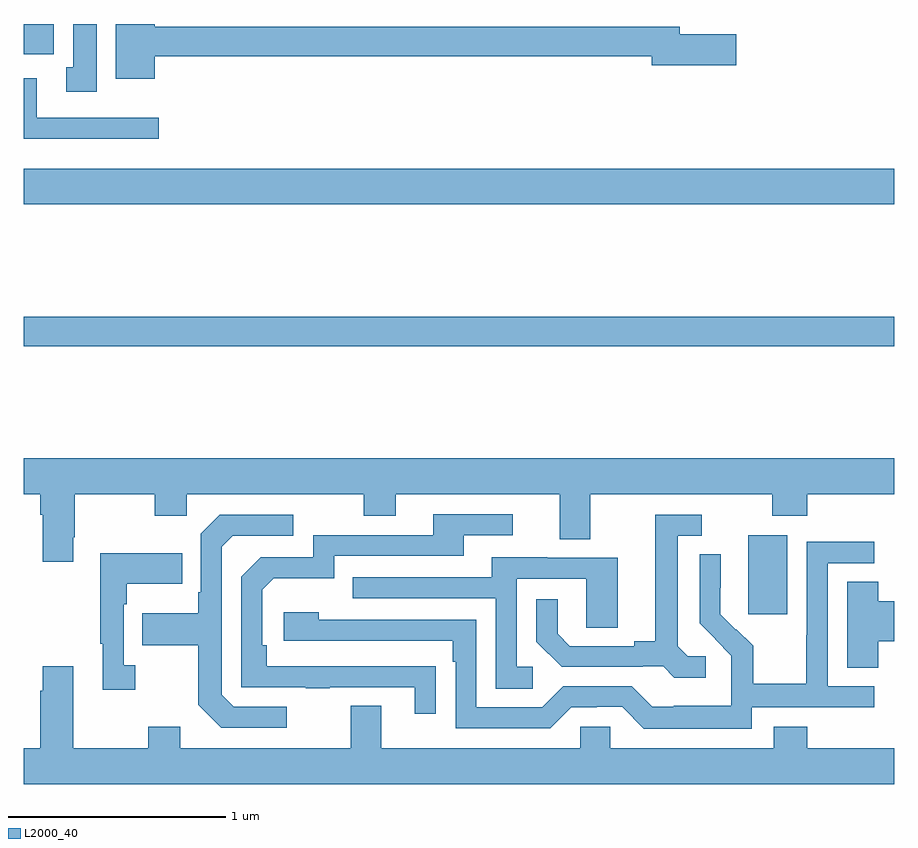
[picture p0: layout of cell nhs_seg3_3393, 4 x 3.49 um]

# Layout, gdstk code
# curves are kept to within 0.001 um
import gdstk
lib = gdstk.Library(unit=1e-6, precision=1e-09)
def R(c, l, rs):  # rectangles x0, y0, x1, y1
    for r in rs: c.add(gdstk.rectangle(r[:2], r[2:], *l))
def P(c, l, *ps):  # polygons
    for p in ps: c.add(gdstk.Polygon(p, *l))
L2000_40 = (2000, 40)

nhs_seg3_3393 = lib.new_cell('nhs_seg3_3393')
R(nhs_seg3_3393, L2000_40, [(290.33,709.689,290.509,710.05), (287,710.92,291,711.056), (287,711.572,291,711.736), (287,712.26,287.139,712.4)])
P(nhs_seg3_3393, L2000_40, [(287.602,712.252),(289.886,712.252),(289.886,712.21),(290.275,712.21),(290.275,712.352),(290.014,712.352),(290.014,712.388),(287.602,712.388),(287.602,712.4),(287.423,712.4),(287.423,712.148),(287.602,712.148)],
  [(287.335,712.4),(287.228,712.4),(287.228,712.201),(287.195,712.201),(287.195,712.089),(287.335,712.089)],
  [(287.62,711.969),(287.059,711.969),(287.059,712.15),(287,712.15),(287,711.872),(287.62,711.872)],
  [(287,710.24),(287.075,710.24),(287.075,710.144),(287.087,710.144),(287.087,709.929),(287.227,709.929),(287.227,710.041),(287.235,710.041),(287.235,710.24),(287.602,710.24),(287.602,710.141),(287.748,710.141),(287.748,710.24),(288.562,710.24),(288.562,710.141),(288.709,710.141),(288.709,710.24),(289.463,710.24),(289.463,710.032),(289.603,710.032),(289.603,710.24),(290.44,710.24),(290.44,710.141),(290.6,710.141),(290.6,710.24),(291,710.24),(291,710.404),(287,710.404)],
  [(288.893,709.448),(288.116,709.449),(288.116,709.546),(288.096,709.546),(288.096,709.8),(288.149,709.853),(288.426,709.853),(288.426,709.956),(289.021,709.956),(289.021,710.052),(289.246,710.052),(289.246,710.148),(288.881,710.148),(288.881,710.052),(288.33,710.052),(288.33,709.95),(288.09,709.95),(288,709.86),(288,709.353),(288.295,709.353),(288.295,709.348),(288.407,709.348),(288.407,709.353),(288.797,709.353),(288.797,709.23),(288.893,709.23)],
  [(288.208,709.263),(287.964,709.263),(287.91,709.317),(287.91,709.998),(287.961,710.049),(288.238,710.049),(288.238,710.145),(287.901,710.145),(287.814,710.058),(287.814,709.789),(287.802,709.789),(287.802,709.693),(287.545,709.693),(287.545,709.546),(287.802,709.546),(287.802,709.273),(287.907,709.167),(288.208,709.167)],
  [(290.134,709.494),(290.052,709.494),(290.005,709.541),(290.005,710.049),(290.116,710.049),(290.116,710.145),(289.901,710.145),(289.901,709.565),(289.805,709.565),(289.805,709.542),(289.51,709.542),(289.453,709.599),(289.453,709.756),(289.356,709.756),(289.356,709.562),(289.472,709.446),(289.844,709.446),(289.844,709.449),(289.938,709.449),(289.99,709.397),(290.134,709.397)],
  [(290.346,709.26),(290.908,709.26),(290.908,709.356),(290.694,709.356),(290.694,709.923),(290.908,709.923),(290.908,710.022),(290.598,710.022),(290.598,709.592),(290.596,709.592),(290.596,709.369),(290.351,709.369),(290.351,709.543),(290.274,709.62),(290.271,709.617),(290.201,709.688),(290.202,709.964),(290.106,709.964),(290.106,709.646),(290.252,709.498),(290.252,709.401),(290.25,709.401),(290.25,709.267),(289.987,709.267),(289.987,709.263),(289.887,709.263),(289.794,709.356),(289.479,709.356),(289.383,709.26),(289.08,709.26),(289.08,709.662),(288.356,709.662),(288.356,709.696),(288.195,709.696),(288.195,709.566),(288.971,709.566),(288.971,709.469),(288.984,709.469),(288.984,709.164),(289.419,709.164),(289.515,709.26),(289.634,709.26),(289.634,709.263),(289.749,709.263),(289.849,709.163),(290.346,709.163)],
  [(287.512,709.454),(287.46,709.454),(287.46,709.733),(287.473,709.733),(287.473,709.829),(287.729,709.829),(287.729,709.969),(287.352,709.969),(287.352,709.553),(287.363,709.553),(287.363,709.341),(287.512,709.341)],
  [(289.339,709.446),(289.266,709.446),(289.266,709.851),(289.584,709.851),(289.584,709.627),(289.729,709.627),(289.729,709.947),(289.405,709.947),(289.405,709.951),(289.151,709.951),(289.151,709.857),(288.511,709.857),(288.511,709.761),(289.17,709.761),(289.17,709.345),(289.339,709.345)],
  [(290.927,709.565),(291,709.565),(291,709.748),(290.927,709.748),(290.927,709.838),(290.783,709.838),(290.783,709.441),(290.927,709.441)],
  [(291,709.072),(290.6,709.072),(290.6,709.171),(290.447,709.171),(290.447,709.072),(289.695,709.072),(289.695,709.17),(289.557,709.17),(289.557,709.072),(288.643,709.072),(288.643,709.267),(288.503,709.267),(288.503,709.072),(287.719,709.072),(287.719,709.171),(287.572,709.171),(287.572,709.072),(287.227,709.072),(287.227,709.45),(287.087,709.45),(287.087,709.337),(287.075,709.337),(287.075,709.072),(287,709.072),(287,708.908),(291,708.908)])

lib.write_gds('nhs_seg3_3393.gds')
